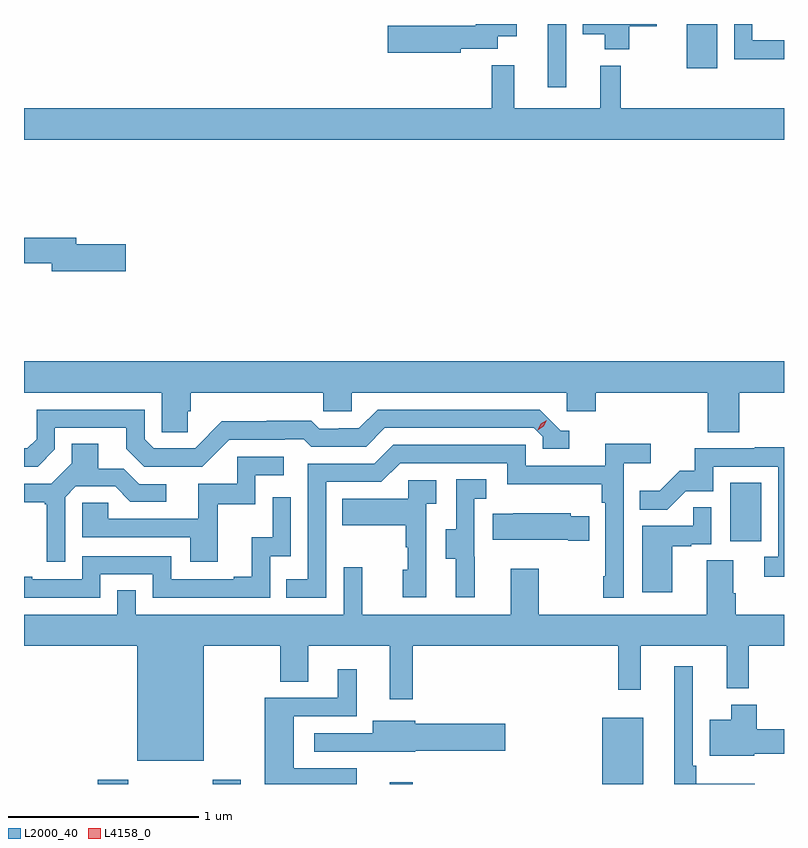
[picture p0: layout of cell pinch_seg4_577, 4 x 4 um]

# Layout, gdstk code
import gdstk
lib = gdstk.Library(unit=1e-6, precision=1e-09)
def R(c, l, rs):  # rectangles x0, y0, x1, y1
    for r in rs: c.add(gdstk.rectangle(r[:2], r[2:], *l))
def P(c, l, *ps):  # polygons
    for p in ps: c.add(gdstk.Polygon(p, *l))
L2000_40 = (2000, 40)
L4158_0 = (4158, 0)

pinch_seg4_577 = lib.new_cell('pinch_seg4_577')
R(pinch_seg4_577, L2000_40, [(1042.709,778.776,1042.869,778.798), (1043.314,778.776,1043.461,778.798), (1044.245,778.776,1044.367,778.786), (1045.364,778.776,1045.579,779.125), (1046.036,780.054,1046.2,780.361), (1045.076,782.442,1045.173,782.776), (1045.808,782.544,1045.969,782.776)])
P(pinch_seg4_577, L2000_40, [(1046.32,782.691),(1046.154,782.691),(1046.154,782.776),(1046.058,782.776),(1046.058,782.59),(1046.32,782.59)],
  [(1045.506,782.764),(1045.651,782.764),(1045.651,782.776),(1045.262,782.776),(1045.262,782.723),(1045.376,782.723),(1045.376,782.642),(1045.506,782.642)],
  [(1044.618,782.645),(1044.814,782.645),(1044.814,782.711),(1044.913,782.711),(1044.913,782.776),(1044.698,782.776),(1044.698,782.768),(1044.234,782.768),(1044.234,782.626),(1044.618,782.626)],
  [(1046.32,782.332),(1045.462,782.332),(1045.462,782.557),(1045.352,782.557),(1045.352,782.332),(1044.899,782.332),(1044.899,782.56),(1044.781,782.56),(1044.781,782.332),(1042.32,782.332),(1042.32,782.168),(1046.32,782.168)],
  [(1042.855,781.616),(1042.594,781.616),(1042.594,781.652),(1042.32,781.652),(1042.32,781.516),(1042.466,781.516),(1042.466,781.474),(1042.855,781.474)],
  [(1043.183,780.738),(1043.198,780.738),(1043.198,780.836),(1043.895,780.836),(1043.895,780.738),(1044.045,780.738),(1044.045,780.836),(1045.176,780.836),(1045.176,780.738),(1045.328,780.738),(1045.328,780.836),(1045.919,780.836),(1045.919,780.628),(1046.084,780.628),(1046.084,780.836),(1046.32,780.836),(1046.32,781),(1042.32,781),(1042.32,780.836),(1043.046,780.836),(1043.046,780.628),(1043.183,780.628)],
  [(1042.482,780.537),(1042.482,780.651),(1042.859,780.651),(1042.859,780.541),(1042.953,780.447),(1043.259,780.447),(1043.4,780.588),(1043.693,780.588),(1043.693,780.591),(1043.792,780.591),(1043.831,780.552),(1044.12,780.552),(1044.219,780.651),(1045.002,780.651),(1045.05,780.603),(1045.05,780.54),(1045.189,780.54),(1045.189,780.636),(1045.146,780.636),(1045.035,780.747),(1044.182,780.747),(1044.083,780.648),(1043.976,780.648),(1043.976,780.645),(1043.873,780.645),(1043.831,780.688),(1043.598,780.688),(1043.598,780.685),(1043.362,780.685),(1043.22,780.543),(1043.004,780.543),(1042.956,780.591),(1042.956,780.747),(1042.386,780.747),(1042.386,780.591),(1042.338,780.543),(1042.32,780.543),(1042.32,780.447),(1042.392,780.447)],
  [(1043.91,780.366),(1044.201,780.366),(1044.3,780.465),(1044.864,780.465),(1044.864,780.353),(1045.36,780.353),(1045.36,780.257),(1045.38,780.257),(1045.38,779.869),(1045.368,779.869),(1045.368,779.757),(1045.476,779.757),(1045.476,780.464),(1045.618,780.464),(1045.618,780.566),(1045.379,780.566),(1045.379,780.45),(1044.96,780.45),(1044.96,780.561),(1044.263,780.561),(1044.164,780.462),(1043.814,780.462),(1043.814,779.853),(1043.701,779.853),(1043.701,779.757),(1043.91,779.757)],
  [(1042.536,780.285),(1042.593,780.342),(1042.799,780.342),(1042.88,780.261),(1043.068,780.261),(1043.068,780.354),(1042.926,780.354),(1042.846,780.434),(1042.711,780.434),(1042.711,780.566),(1042.571,780.566),(1042.571,780.464),(1042.464,780.357),(1042.32,780.357),(1042.32,780.26),(1042.428,780.26),(1042.428,780.249),(1042.439,780.249),(1042.439,779.946),(1042.536,779.946)],
  [(1046.32,780.548),(1046.167,780.548),(1046.167,780.543),(1045.849,780.543),(1045.849,780.426),(1045.772,780.426),(1045.665,780.319),(1045.561,780.319),(1045.561,780.22),(1045.705,780.22),(1045.803,780.318),(1045.947,780.318),(1045.947,780.447),(1046.289,780.447),(1046.289,779.973),(1046.217,779.973),(1046.217,779.868),(1046.32,779.868)],
  [(1043.339,780.249),(1043.538,780.249),(1043.538,780.402),(1043.686,780.402),(1043.686,780.498),(1043.442,780.498),(1043.442,780.357),(1043.237,780.357),(1043.237,780.171),(1042.763,780.171),(1042.763,780.255),(1042.626,780.255),(1042.626,780.075),(1043.195,780.075),(1043.195,779.946),(1043.339,779.946)],
  [(1044.692,779.973),(1044.69,779.973),(1044.69,780.277),(1044.754,780.277),(1044.754,780.38),(1044.594,780.38),(1044.594,780.117),(1044.539,780.117),(1044.539,779.962),(1044.593,779.962),(1044.593,779.76),(1044.692,779.76)],
  [(1044.438,780.251),(1044.49,780.251),(1044.49,780.375),(1044.342,780.375),(1044.342,780.277),(1043.995,780.277),(1043.995,780.137),(1044.33,780.137),(1044.33,780.023),(1044.34,780.023),(1044.34,779.904),(1044.314,779.904),(1044.314,779.76),(1044.438,779.76)],
  [(1042.722,779.88),(1042.998,779.88),(1042.998,779.757),(1043.616,779.757),(1043.616,779.976),(1043.724,779.976),(1043.724,780.286),(1043.628,780.286),(1043.628,780.074),(1043.519,780.074),(1043.519,779.866),(1043.423,779.866),(1043.423,779.853),(1043.094,779.853),(1043.094,779.976),(1042.626,779.976),(1042.626,779.853),(1042.363,779.853),(1042.363,779.866),(1042.32,779.866),(1042.32,779.757),(1042.722,779.757)],
  [(1045.732,780.027),(1045.832,780.027),(1045.832,780.039),(1045.938,780.039),(1045.938,780.233),(1045.843,780.233),(1045.843,780.135),(1045.574,780.135),(1045.574,779.784),(1045.732,779.784)],
  [(1045.295,780.184),(1045.197,780.184),(1045.197,780.202),(1044.895,780.202),(1044.895,780.199),(1044.787,780.199),(1044.787,780.062),(1045.184,780.062),(1045.184,780.055),(1045.295,780.055)],
  [(1042.916,778.898),(1043.266,778.898),(1043.266,779.504),(1043.668,779.504),(1043.668,779.314),(1043.815,779.314),(1043.815,779.504),(1044.245,779.504),(1044.245,779.223),(1044.367,779.223),(1044.367,779.504),(1045.447,779.504),(1045.447,779.271),(1045.565,779.271),(1045.565,779.504),(1046.018,779.504),(1046.018,779.279),(1046.135,779.279),(1046.135,779.504),(1046.32,779.504),(1046.32,779.668),(1046.066,779.668),(1046.066,779.78),(1046.053,779.78),(1046.053,779.954),(1045.913,779.954),(1045.913,779.668),(1045.029,779.668),(1045.029,779.908),(1044.881,779.908),(1044.881,779.668),(1044.101,779.668),(1044.101,779.917),(1044.003,779.917),(1044.003,779.668),(1042.908,779.668),(1042.908,779.795),(1042.812,779.795),(1042.812,779.668),(1042.32,779.668),(1042.32,779.504),(1042.916,779.504)],
  [(1046.167,778.777),(1045.859,778.777),(1045.859,778.873),(1045.839,778.873),(1045.839,779.395),(1045.742,779.395),(1045.742,778.776),(1046.167,778.776)],
  [(1044.07,778.858),(1043.74,778.858),(1043.74,779.133),(1044.07,779.133),(1044.07,779.38),(1043.972,779.38),(1043.972,779.229),(1043.587,779.229),(1043.587,778.776),(1044.07,778.776)],
  [(1046.164,778.936),(1046.32,778.936),(1046.32,779.065),(1046.177,779.065),(1046.177,779.194),(1046.042,779.194),(1046.042,779.113),(1045.928,779.113),(1045.928,778.925),(1046.164,778.925)],
  [(1044.378,778.952),(1044.853,778.952),(1044.853,779.094),(1044.378,779.094),(1044.378,779.11),(1044.155,779.11),(1044.155,779.043),(1043.847,779.043),(1043.847,778.947),(1044.159,778.947),(1044.159,778.946),(1044.378,778.946)])
P(pinch_seg4_577, L4158_0, [(1045.025,780.638),(1045.025,780.638),(1045.041,780.671),(1045.071,780.69),(1045.072,780.69),(1045.072,780.69),(1045.056,780.658),(1045.025,780.638)])

lib.write_gds('pinch_seg4_577.gds')
